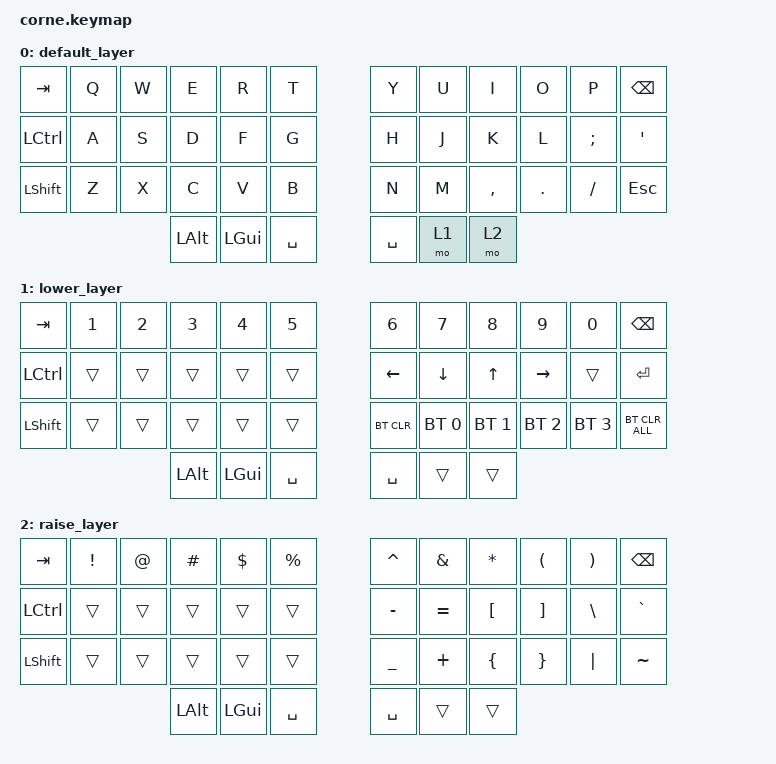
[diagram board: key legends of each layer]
/*
 * Copyright (c) 2020 The ZMK Contributors
 *
 * SPDX-License-Identifier: MIT
 */

#include <behaviors.dtsi>
#include <dt-bindings/zmk/keys.h>
#include <dt-bindings/zmk/bt.h>

/ {
        keymap {
                compatible = "zmk,keymap";

                default_layer {
// -----------------------------------------------------------------------------------------
// |  TAB |  Q  |  W  |  E  |  R  |  T  |   |  Y  |  U   |  I  |  O  |  P  | BSPC |
// | CTRL |  A  |  S  |  D  |  F  |  G  |   |  H  |  J   |  K  |  L  |  ;  |  '   |
// | SHFT |  Z  |  X  |  C  |  V  |  B  |   |  N  |  M   |  ,  |  .  |  /  | ESC  |
//                    | ALT | GUI | SPC |   | SPC | LWR  | RSE |
                        bindings = <
    &kp TAB     &kp Q   &kp W   &kp E       &kp R       &kp T           &kp Y       &kp U   &kp I       &kp O   &kp P       &kp BSPC
    &kp LCTRL   &kp A   &kp S   &kp D       &kp F       &kp G           &kp H       &kp J   &kp K       &kp L   &kp SEMI    &kp SQT
    &kp LSHFT   &kp Z   &kp X   &kp C       &kp V       &kp B           &kp N       &kp M   &kp COMMA   &kp DOT &kp FSLH    &kp ESC
                                &kp LALT    &kp LGUI    &kp SPACE       &kp SPACE   &mo 1   &mo 2
                        >;
                };
                lower_layer {
// -----------------------------------------------------------------------------------------
// |  TAB |  1  |  2  |  3  |  4  |  5  |   |  6   |  7  |  8  |  9  |  0  | BSPC |
// | CTRL |     |     |     |     |     |   | LFT  | DWN |  UP | RGT |     | ENT  |
// | SHFT |     |     |     |     |     |   | BTCLR| BT0 | BT1 | BT2 | BT3 |BTCLRALL|
//                    | ALT | GUI | SPC |   | SPC  |     |     |
                        bindings = <
   &kp TAB      &kp N1  &kp N2  &kp N3      &kp N4      &kp N5          &kp N6      &kp N7          &kp N8          &kp N9          &kp N0          &kp BSPC
   &kp LCTRL    &trans  &trans  &trans      &trans      &trans          &kp LEFT    &kp DOWN        &kp UP          &kp RIGHT       &trans          &kp RET
   &kp LSHFT    &trans  &trans  &trans      &trans      &trans          &bt BT_CLR  &bt BT_SEL 0    &bt BT_SEL 1    &bt BT_SEL 2    &bt BT_SEL 3    &bt BT_CLR_ALL
                                &kp LALT    &kp LGUI    &kp SPACE       &kp SPACE   &trans          &trans
                        >;
                };

                raise_layer {
// -----------------------------------------------------------------------------------------
// |  TAB |  !  |  @  |  #  |  $  |  %  |   |  ^  |  &  |  *  |  (  |  )  | BSPC |
// | CTRL |     |     |     |     |     |   |  -  |  =  |  [  |  ]  |  \  |  `   |
// | SHFT |     |     |     |     |     |   |  _  |  +  |  {  |  }  | "|" |  ~   |
//                    | ALT | GUI | SPC |   | SPC |     |     |
                        bindings = <
   &kp TAB      &kp EXCL    &kp AT  &kp HASH    &kp DLLR    &kp PRCNT       &kp CARET   &kp AMPS    &kp ASTRK   &kp LPAR    &kp RPAR    &kp BSPC
   &kp LCTRL    &trans      &trans  &trans      &trans      &trans          &kp MINUS   &kp EQUAL   &kp LBKT    &kp RBKT    &kp BSLH    &kp GRAVE
   &kp LSHFT    &trans      &trans  &trans      &trans      &trans          &kp UNDER   &kp PLUS    &kp LBRC    &kp RBRC    &kp PIPE    &kp TILDE
                                    &kp LALT    &kp LGUI    &kp SPACE       &kp SPACE   &trans      &trans
                        >;
                };
        };
};
